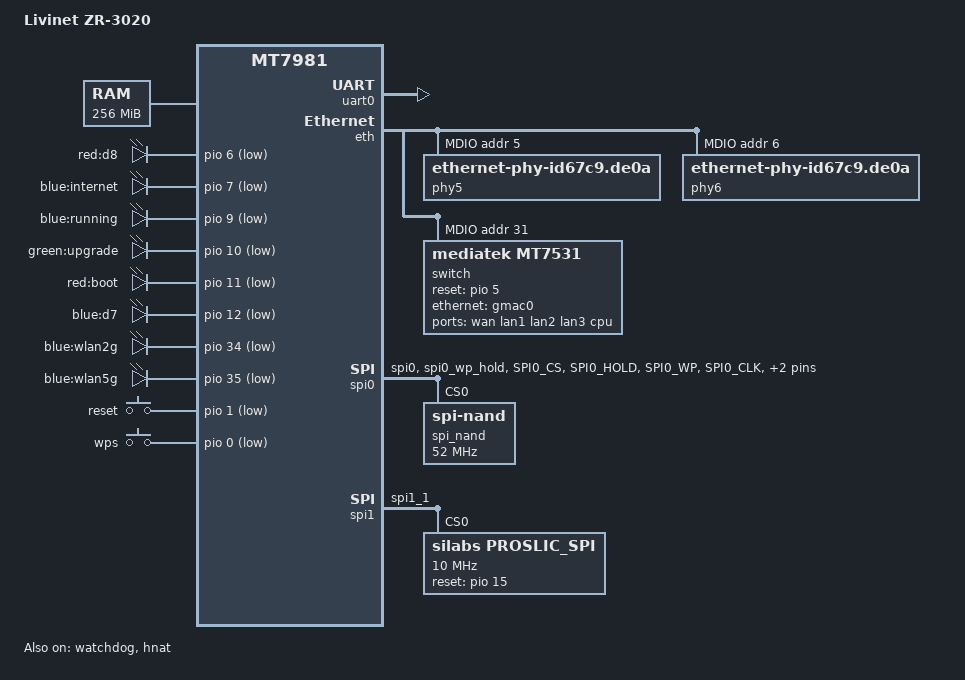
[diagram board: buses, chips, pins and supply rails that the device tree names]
/dts-v1/;
#include "mt7981.dtsi"

/ {
	model = "Livinet ZR-3020";
	compatible = "livinet,zr-3020", "mediatek,mt7981";

	aliases {
		led-boot = &boot_led;
		led-failsafe = &boot_led;
		led-running = &running_led;
		led-upgrade = &upgrade_led;
	};

	chosen {
		bootargs = "console=ttyS0,115200n1 loglevel=8 earlycon=uart8250,mmio32,0x11002000";
	};

	memory {
		reg = <0 0x40000000 0 0x10000000>;
	};

	gpio-leds {
		compatible = "gpio-leds";

		led-0 {
			label = "red:d8";
			gpios = <&pio 6 GPIO_ACTIVE_LOW>;
		};

		led-1 {
			label = "blue:internet";
			gpios = <&pio 7 GPIO_ACTIVE_LOW>;
		};

		running_led: led-2 {
			label = "blue:running";
			gpios = <&pio 9 GPIO_ACTIVE_LOW>;
		};

		upgrade_led: led-3 {
			label = "green:upgrade";
			gpios = <&pio 10 GPIO_ACTIVE_LOW>;
		};

		boot_led: led-4 {
			label = "red:boot";
			gpios = <&pio 11 GPIO_ACTIVE_LOW>;
		};

		led-6 {
			label = "blue:d7";
			gpios = <&pio 12 GPIO_ACTIVE_LOW>;
		};

		led-7 {
			label = "blue:wlan2g";
			gpios = <&pio 34 GPIO_ACTIVE_LOW>;
		};

		led-8 {
			label = "blue:wlan5g";
			gpios = <&pio 35 GPIO_ACTIVE_LOW>;
		};
	};

	gpio-keys {
		compatible = "gpio-keys";

		button-reset {
			label = "reset";
			linux,code = <KEY_RESTART>;
			gpios = <&pio 1 GPIO_ACTIVE_LOW>;
		};

		button-wps {
			label = "wps";
			linux,code = <KEY_WPS_BUTTON>;
			gpios = <&pio 0 GPIO_ACTIVE_LOW>;
		};
	};

	 

	nmbm_spim_nand {
		compatible = "generic,nmbm";

		#address-cells = <1>;
		#size-cells = <1>;

		lower-mtd-device = <&spi_nand>;
		forced-create;

		partitions {
			compatible = "fixed-partitions";
			#address-cells = <1>;
			#size-cells = <1>;

			partition@0 {
				label = "BL2";
				reg = <0x00000 0x100000>;
				read-only;
			};

			partition@100000 {
				label = "u-boot-env";
				reg = <0x100000 0x80000>;
			};

			partition@180000 {
				label = "Factory";
				reg = <0x180000 0x200000>;
			};

			partition@380000 {
				label = "FIP";
				reg = <0x380000 0x200000>;
			};

			partition@580000 {
				label = "ubi";
				reg = <0x580000 0x4000000>;
			};

			partition@4580000 {
				label = "firmware_backup";
				reg = <0x4580000 0x2000000>;
			};

			partition@6580000 {
				label = "zrsave";
				reg = <0x6580000 0x100000>;
			};

			partition@6680000 {
				label = "config2";
				reg = <0x6680000 0x100000>;
			};
		};
	};
};

&uart0 {
	status = "okay";
};

&watchdog {
	status = "okay";
};

&eth {
	status = "okay";

	gmac0: mac@0 {
		compatible = "mediatek,eth-mac";
		reg = <0>;
		phy-mode = "2500base-x";

		fixed-link {
			speed = <2500>;
			full-duplex;
			pause;
		};
	};


	mdio: mdio-bus {
		#address-cells = <1>;
		#size-cells = <0>;

		phy5: phy@5 {
			compatible = "ethernet-phy-id67c9.de0a";
			reg = <5>;
			phy-mode = "2500base-x";
		}; 
		phy6: phy@6 {
			compatible = "ethernet-phy-id67c9.de0a";
			reg = <6>;
			phy-mode = "2500base-x";
		};

		switch@0 {
			compatible = "mediatek,mt7531";
			reg = <31>;
			reset-gpios = <&pio 5 0>;

			ports {
				#address-cells = <1>;
				#size-cells = <0>;

				port@0 {
					reg = <0>;
					label = "wan";
				};

				port@1 {
					reg = <2>;
					label = "lan1";
				};

				port@2 {
					reg = <3>;
					label = "lan2";
				};

				port@3 {
					reg = <4>;
					label = "lan3";
				};
				
				port@6 {
					reg = <6>;
					label = "cpu";
					ethernet = <&gmac0>;
					phy-mode = "2500base-x";

					fixed-link {
						speed = <2500>;
						full-duplex;
						pause;
					};
				};
			};
		};
	};
};

&hnat {
	mtketh-wan = "eth1";
	mtketh-lan = "lan";
	mtketh-max-gmac = <2>;
	status = "okay";
};

&spi0 {
	pinctrl-names = "default";
	pinctrl-0 = <&spi0_flash_pins>;
	status = "okay";

	spi_nand: spi_nand@0 {
		#address-cells = <1>;
		#size-cells = <1>;
		compatible = "spi-nand";
		reg = <0>;
		spi-max-frequency = <52000000>;
		spi-tx-bus-width = <4>;
		spi-rx-bus-width = <4>;
	};
};

&spi1 {
	pinctrl-names = "default";
	pinctrl-0 = <&spic_pins>;
	status = "okay";

	proslic_spi: proslic_spi@0 {
		compatible = "silabs,proslic_spi";
		reg = <0>;
		spi-max-frequency = <10000000>;
		spi-cpha = <1>;
		spi-cpol = <1>;
		channel_count = <1>;
		debug_level = <4>;       /* 1 = TRC, 2 = DBG, 4 = ERR */
		reset_gpio = <&pio 15 0>;
		ig,enable-spi = <1>;     /* 1: Enable, 0: Disable */
	};
};

&pio {
	i2c_pins: i2c-pins-g0 {
                mux {
                        function = "i2c";
                        groups = "i2c0_0";
                };
        };

        pcm_pins: pcm-pins-g0 {
                mux {
                        function = "pcm";
                        groups = "pcm";
                };
        };

	pwm0_pin: pwm0-pin-g0 {
		mux {
			function = "pwm";
			groups = "pwm0_0";
		};
	};

	pwm1_pin: pwm1-pin-g0 {
		mux {
			function = "pwm";
			groups = "pwm1_0";
		};
	};

	pwm2_pin: pwm2-pin {
		mux {
			function = "pwm";
			groups = "pwm2";
		};
	};

	spi0_flash_pins: spi0-pins {
		mux {
			function = "spi";
			groups = "spi0", "spi0_wp_hold";
		};

		conf-pu {
			pins = "SPI0_CS", "SPI0_HOLD", "SPI0_WP";
			drive-strength = <MTK_DRIVE_8mA>;
			bias-pull-up = <MTK_PUPD_SET_R1R0_11>;
		};

		conf-pd {
			pins = "SPI0_CLK", "SPI0_MOSI", "SPI0_MISO";
			drive-strength = <MTK_DRIVE_8mA>;
			bias-pull-down = <MTK_PUPD_SET_R1R0_11>;
		};
	};

	spic_pins: spi1-pins {
		mux {
			function = "spi";
			groups = "spi1_1";
		};
	};

	uart1_pins: uart1-pins-g1 {
		mux {
			function = "uart";
			groups = "uart1_1";
		};
	};

	uart2_pins: uart2-pins-g1 {
		mux {
			function = "uart";
			groups = "uart2_1";
		};
	};
};
